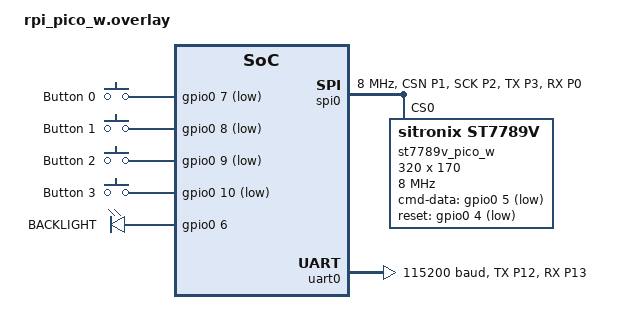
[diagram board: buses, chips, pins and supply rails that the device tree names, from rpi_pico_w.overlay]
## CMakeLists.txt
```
# SPDX-License-Identifier: Apache-2.0

cmake_minimum_required(VERSION 3.20.0)

# Suppress "simple_bus_reg" on Pico boards as 
# all GPIO ports use the same register.
list(APPEND EXTRA_DTC_FLAGS "-Wno-simple_bus_reg")

set(BOARD rpi_pico_w)

find_package(Zephyr)
project(st7789v_lvgl)

FILE(GLOB app_sources src/*.c)

target_sources(app PRIVATE ${app_sources})

# zephyr_compile_options(-save-temps)
```

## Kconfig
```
# SPDX-License-Identifier: Apache-2.0
# Copyright (c) 2024  Callender Consulting LLC

mainmenu "ST7789V_App_options"

menu "Application Options" 

choice
  prompt "Backlight Configuration"
  default BACKLIGHT_FIRMWARE
  help
    Select the method to configure/power the panel's backlight.

  config BACKLIGHT_FIRMWARE
    bool "Firmware"

  config BACKLIGHT_MANUAL
    bool "Manual"
endchoice

endmenu # ST7789V_App_options

# include main Zephyr menu entries from Zephyr root directory
source "Kconfig.zephyr"
```

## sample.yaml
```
sample:
  description: LVGL sample application
  name: lvgl
```

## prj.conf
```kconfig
#
CONFIG_DEBUG=y
CONFIG_STDOUT_CONSOLE=y
CONFIG_LV_Z_MEM_POOL_SIZE=16384
CONFIG_MAIN_STACK_SIZE=2048
CONFIG_SYSTEM_WORKQUEUE_STACK_SIZE=2048
CONFIG_HEAP_MEM_POOL_SIZE=12288
CONFIG_LV_Z_MEM_POOL_SIZE=8192
CONFIG_BUILD_OUTPUT_HEX=y
CONFIG_THREAD_NAME=y

#------------------------------------

CONFIG_SPI=y
CONFIG_SPI_LOG_LEVEL_DEFAULT=y

CONFIG_GPIO=y

#------------------------------------

CONFIG_DISPLAY=y
CONFIG_DISPLAY_LOG_LEVEL_ERR=y
CONFIG_DISPLAY_LOG_LEVEL_DEFAULT=y

CONFIG_BACKLIGHT_FIRMWARE=y
CONFIG_ST7789V_RGB565=y

#------------------------------------

CONFIG_APP_LINK_WITH_LVGL=y

CONFIG_LVGL=y
CONFIG_LV_USE_BAR=y
CONFIG_LV_USE_BTN=y
CONFIG_LV_USE_IMG=y
CONFIG_LV_USE_LABEL=y
CONFIG_LV_USE_SLIDER=y
CONFIG_LV_FONT_MONTSERRAT_20=y

CONFIG_LV_FONT_DEFAULT_MONTSERRAT_20=y

#------------------------------------------------
# Logging interface: UART or RTT.
# By default logging will be to UART.
# For RTT logging (JLink or Ozone), uncomment 
# indicated section below.
#
CONFIG_LOG=y
CONFIG_LOG_PRINTK=y
CONFIG_LOG_MODE_IMMEDIATE=y

CONFIG_LOG_BACKEND_SHOW_COLOR=n
CONFIG_LOG_BACKEND_FORMAT_TIMESTAMP=n

# Uncomment this section for RTT support
#CONFIG_USE_SEGGER_RTT=y
#CONFIG_LOG_BACKEND_RTT=y
#CONFIG_LOG_BACKEND_UART=n
```

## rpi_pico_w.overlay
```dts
/*
 *
 * SPDX-License-Identifier: Apache-2.0
 */

&pinctrl {
    spi0_default: spi0_default {
        group1 {
            pinmux = <SPI0_CSN_P1>, // pin 2, GP1
                     <SPI0_SCK_P2>, // pin 4. GP2
                     <SPI0_TX_P3>;  // pin 5. GP3
        };
        group2 {
            pinmux = <SPI0_RX_P0>;  // pin 1, GP0 (not used)
            input-enable;
        };
    };

    uart0_default: uart0_default {
        group1 {
            pinmux = <UART0_TX_P12>;  // pin 16, GP12
        };
        group2 {
            pinmux = <UART0_RX_P13>;  // pin 17, GP13
            input-enable;
        };
    };
};

&spi0 {
    status = "okay";
    clock-frequency = <DT_FREQ_M(8)>;
    status = "okay";
    pinctrl-0 = <&spi0_default>;
    pinctrl-names = "default";

    st7789v_pico_w: st7789v@0 {
        compatible = "sitronix,st7789v";
        spi-max-frequency = <8000000>;
        reg = <0>;
        cmd-data-gpios = <&gpio0 5 GPIO_ACTIVE_LOW>; // pin 7, GP5
        reset-gpios    = <&gpio0 4 GPIO_ACTIVE_LOW>; // pin 6, GP4
        width  = <320>;
        height = <170>;
        x-offset = <0>;
        y-offset = <35>;
        vcom = <0x2B>;
        gctrl = <0x35>;
        vrhs = <0x0F>;
        vdvs = <0x20>;
        mdac = <0x60>;
        gamma = <0x01>;
        colmod = <0x55>;
        lcm = <0x2C>;
        porch-param = [0C 0C 00 33 33];
        cmd2en-param = [5A 69 02 01];
        pwctrl1-param = [52 A1];
        pvgam-param = [D0 00 02 07 0B 1A 31 54 40 29 12 12 12 17];
        nvgam-param = [D0 00 02 07 05 15 2D 44 44 1C 18 16 1C 1D];
        ram-param = [00 F8];
        rgb-param = [CD 08 14];
    };
};

&uart0 {
    current-speed = <115200>;
    status = "okay";
    pinctrl-0 = <&uart0_default>;
    pinctrl-names = "default";
};

&gpio0 {
    status = "okay";
};

/ {

    chosen {
        zephyr,display = &st7789v_pico_w;
    };

    buttons {
        compatible = "gpio-keys";
        button0: button_0 {
            gpios = <&gpio0 7 GPIO_ACTIVE_LOW>; // pin10, GP7
            label = "Button 0";
        };
        button1: button_1 {
            gpios = <&gpio0 8 GPIO_ACTIVE_LOW>; // pin11, GP8
            label = "Button 1";
        };
        button2: button_2 {
            gpios = <&gpio0 9 GPIO_ACTIVE_LOW>; // pin12, GP9
            label = "Button 2";
        };
        button3: button_3 {
            gpios = <&gpio0 10 GPIO_ACTIVE_LOW>; // pin14, GP10
            label = "Button 3";
        };
    };

    backlight {
        compatible = "gpio-leds";
        backlight0: backlight_0 {
            gpios = <&gpio0 6 GPIO_ACTIVE_HIGH>; // pin9, GP6
            label = "BACKLIGHT";
        };
    };

    aliases {
        sw0 = &button0;
        sw1 = &button1;
        sw2 = &button2;
        sw3 = &button3;
        backlight = &backlight0;
    };
};
```

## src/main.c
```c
/* 
 *  main.c - Application main entry point 
 */
#include <stdio.h>
#include <string.h>

#include <zephyr/kernel.h>
#include <zephyr/device.h>
#include <zephyr/devicetree.h>
#include <zephyr/drivers/display.h>
#include <zephyr/drivers/gpio.h>
#include <zephyr/sys/printk.h>

#include <lvgl.h>
#include <lvgl_input_device.h>

#include "display.h"
#include "buttons.h"

#include <zephyr/logging/log.h>
LOG_MODULE_REGISTER(main, CONFIG_LOG_DEFAULT_LEVEL);

/*---------------------------------------------------------------------------*/
/*                                                                           */
/*---------------------------------------------------------------------------*/

#define STACKSIZE 1024
#define PRIORITY 7

/*---------------------------------------------------------------------------*/
/*                                                                           */
/*---------------------------------------------------------------------------*/
static int set_backlight_on(void)
{
#if defined(CONFIG_BACKLIGHT_FIRMWARE)
 
    #define BACKLIGHT_GPIO_DEV  DT_PHANDLE_BY_IDX(DT_ALIAS(backlight), gpios, 0)
    #define BACKLIGHT_PIN       DT_GPIO_PIN(DT_ALIAS(backlight), gpios)
    #define BACKLIGHT_FLAGS     DT_GPIO_FLAGS(DT_ALIAS(backlight), gpios)

    static const struct device * gpio;

    gpio = DEVICE_DT_GET(BACKLIGHT_GPIO_DEV);
    if (!gpio) {
        LOG_ERR("Backlight failure");
        return -1;
    }

    gpio_pin_configure(gpio, BACKLIGHT_PIN, GPIO_OUTPUT);
    gpio_pin_set(gpio, BACKLIGHT_PIN, 1);

    return 0;

#elif defined(CONFIG_BACKLIGHT_MANUAL)
    LOG_INF("Backlight manually configured");
    return 0;
#else
    LOG_ERR("Set Backlight configuration method");
    return 0     

#endif
}

/*---------------------------------------------------------------------------*/
/*                                                                           */
/*---------------------------------------------------------------------------*/

int main(void)
{
    LOG_INF("%s", __func__);

    if (set_backlight_on() < 0) {
        return -1;
    }

    buttons_init();

    if (display_init() < 0)
        return -2;

    return 0;
}
```

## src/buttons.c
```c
/*
 *   buttons.c
 */
#include <zephyr/kernel.h>
#include <zephyr/device.h>
#include <zephyr/drivers/gpio.h>
#include <zephyr/sys/util.h>
#include <zephyr/sys/printk.h>
#include <inttypes.h>

#include "buttons.h"

#include <zephyr/logging/log.h>
LOG_MODULE_REGISTER(buttons, 3);

/*---------------------------------------------------------------------------*/
/*                                                                           */
/*---------------------------------------------------------------------------*/

#define SW_GPIO_NAME    DT_GPIO_LABEL(SW0_NODE, gpios)

#define SW0_NODE        DT_ALIAS(sw0)
#define SW1_NODE        DT_ALIAS(sw1)
#define SW2_NODE        DT_ALIAS(sw2)
#define SW3_NODE        DT_ALIAS(sw3)

#define SW_0            DT_GPIO_PIN(SW0_NODE, gpios)
#define SW_1            DT_GPIO_PIN(SW1_NODE, gpios)
#define SW_2            DT_GPIO_PIN(SW2_NODE, gpios)
#define SW_3            DT_GPIO_PIN(SW3_NODE, gpios)

#define EDGE            (GPIO_INT_EDGE | GPIO_INT_LOW_0)
#define PULL_UP         GPIO_PULL_UP

#define BUTTON_DEBOUNCE_DELAY_MS 350

/*---------------------------------------------------------------------------*/
/*                                                                           */
/*---------------------------------------------------------------------------*/

typedef struct {
    uint8_t    id;
    uint8_t    pin;
    uint32_t   bit;
    char  * name;
} button_info_t; 

#define SW_GPIO_DEV    DT_NODELABEL(gpio0)

#define SW0_PIN        DT_GPIO_PIN(DT_ALIAS(sw0), gpios)
#define SW1_PIN        DT_GPIO_PIN(DT_ALIAS(sw1), gpios)
#define SW2_PIN        DT_GPIO_PIN(DT_ALIAS(sw2), gpios)
#define SW3_PIN        DT_GPIO_PIN(DT_ALIAS(sw3), gpios)

static const button_info_t button_info [] = {
    { .id = BTN1_ID, .pin = SW0_PIN, .bit = BIT(SW0_PIN), .name = "BTN1" },
    { .id = BTN2_ID, .pin = SW1_PIN, .bit = BIT(SW1_PIN), .name = "BTN2" },
    { .id = BTN3_ID, .pin = SW2_PIN, .bit = BIT(SW2_PIN), .name = "BTN3" },
    { .id = BTN4_ID, .pin = SW3_PIN, .bit = BIT(SW3_PIN), .name = "BTN4" },
};

#define BUTTONS_COUNT (sizeof(button_info)/sizeof(button_info_t))

static const button_info_t unknown = {.id=INVALID_ID, .pin=0 , .bit= 0, .name= "???"};

#define DEBOUNCE_MS 250

/*---------------------------------------------------------------------------*/
/*                                                                           */
/*---------------------------------------------------------------------------*/
static const struct device * gpiodev;

static struct gpio_callback buttons_cb;

typedef struct {
    struct k_work      work;
    button_info_t    * current;
    buttons_notify_t   notify;
} buttons_t;

static buttons_t  buttons;

/*---------------------------------------------------------------------------*/
/*                                                                           */
/*---------------------------------------------------------------------------*/
static const button_info_t * button_get_info(uint32_t pins)
{
    for (int i=0; i < BUTTONS_COUNT; i++) {
        if (button_info[i].bit & pins) {
            return &button_info[i];
        }
    }
    return &unknown;
}

/*---------------------------------------------------------------------------*/
/*                                                                           */
/*---------------------------------------------------------------------------*/
void buttons_event(const struct device * gpiob,
                   struct gpio_callback * cb,
                   uint32_t pins)
{
    buttons.current = (button_info_t *) button_get_info(pins);
    if (buttons.current->id == INVALID_ID) {
        return;
    }

    if (gpio_pin_get(gpiodev, buttons.current->pin) == 1) {
        k_msleep(DEBOUNCE_MS);
        if (gpio_pin_get(gpiodev, buttons.current->pin) == 1) {
            k_work_submit(&buttons.work);
        }
    }
}

/*---------------------------------------------------------------------------*/
/*                                                                           */
/*---------------------------------------------------------------------------*/
static void buttons_worker(struct k_work * work)
{
    if (buttons.notify) {
        buttons.notify(buttons.current->id);
    }
}

/*---------------------------------------------------------------------------*/
/*                                                                           */
/*---------------------------------------------------------------------------*/
void buttons_register_notify_handler(buttons_notify_t notify)
{
    buttons.notify = notify;
}

/*---------------------------------------------------------------------------*/
/*                                                                           */
/*---------------------------------------------------------------------------*/
void buttons_unregister_notify_handler(void)
{
    buttons.notify = NULL;
}

/*---------------------------------------------------------------------------*/
/*                                                                           */
/*---------------------------------------------------------------------------*/
void buttons_init(void)
{
    gpiodev = DEVICE_DT_GET(SW_GPIO_DEV);
    if (!gpiodev) {
        LOG_ERR("device not found. %s", DEVICE_DT_NAME(SW_GPIO_DEV));
        return;
    } 

    k_work_init(&buttons.work, buttons_worker);

    /* Init Button Interrupt */
    int flags = (GPIO_INPUT      | 
                 GPIO_ACTIVE_LOW |  
                 GPIO_PULL_UP    | 
                 GPIO_INT_EDGE);

    gpio_pin_configure(gpiodev, SW0_PIN, flags);
    gpio_pin_configure(gpiodev, SW1_PIN, flags);
    gpio_pin_configure(gpiodev, SW2_PIN, flags);
    gpio_pin_configure(gpiodev, SW3_PIN, flags);

    gpio_pin_interrupt_configure(gpiodev, SW0_PIN, GPIO_INT_EDGE_TO_ACTIVE);
    gpio_pin_interrupt_configure(gpiodev, SW1_PIN, GPIO_INT_EDGE_TO_ACTIVE);
    gpio_pin_interrupt_configure(gpiodev, SW2_PIN, GPIO_INT_EDGE_TO_ACTIVE);
    gpio_pin_interrupt_configure(gpiodev, SW3_PIN, GPIO_INT_EDGE_TO_ACTIVE);

    gpio_init_callback(&buttons_cb, buttons_event,
                       BIT(SW0_PIN) |
                       BIT(SW1_PIN) |
                       BIT(SW2_PIN) |
                       BIT(SW3_PIN) );

    gpio_add_callback(gpiodev, &buttons_cb);
}
```

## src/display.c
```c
/*
 * Copyright (c) 2018 Jan Van Winkel <jan.van_winkel@dxplore.eu>
 *
 * SPDX-License-Identifier: Apache-2.0
 */
#include <zephyr/kernel.h> 
#include <zephyr/device.h>
#include <zephyr/drivers/display.h>
#include <lvgl.h>
#include <stdio.h>
#include <string.h>

#include "display.h"
#include "buttons.h"

#include <zephyr/logging/log.h>
LOG_MODULE_REGISTER(display, 3);


static const struct device * display_dev;

#define SCREEN_ID_0    0
#define SCREEN_ID_1    1
#define SCREEN_ID_2    2
#define SCREEN_ID_3    3
#define SCREEN_COUNT   4

#define PARAM_ID_0      0
#define PARAM_ID_1      1
#define PARAM_ID_2      2
#define PARAM_ID_3      3
#define PARAM_COUNT     3  //4

LV_IMG_DECLARE(image_1);
//LV_IMG_DECLARE(image_2);
LV_IMG_DECLARE(image_3);


void display_timer_handler(struct k_timer * timer);
void display_task_handler(struct k_work * work);

K_TIMER_DEFINE(display_timer, display_timer_handler, NULL);

K_WORK_DEFINE(display_work, display_task_handler);

#define TICK_PERIOD   (10)

/*---------------------------------------------------------------------------*/
/*                                                                           */
/*---------------------------------------------------------------------------*/
void display_task_handler(struct k_work * work)
{  
    lv_task_handler();
}

/*---------------------------------------------------------------------------*/
/*                                                                           */
/*---------------------------------------------------------------------------*/
void display_timer_handler(struct k_timer * timer)
{
    k_work_submit(&display_work);
}

/*---------------------------------------------------------------------------*/
/*                                                                           */
/*---------------------------------------------------------------------------*/

typedef struct {
    lv_obj_t     ** object; 
    short         * value;
    short           step;
    short           max;
    short           min;
} param_t;

typedef struct {
    lv_obj_t * screen;
    int        count;
    param_t  * params;
} screens_t;

/*---------------------------------------------------------------------------*/
/*                                                                           */
/*---------------------------------------------------------------------------*/

static lv_obj_t   * screen0_slider_obj;
static lv_obj_t   * screen0_value_obj;
static short        screen0_slider_value;

static lv_obj_t   * screen1_label0_obj; 
static short        screen1_label0_value = 0;
static lv_obj_t   * screen1_label1_obj; 
static short        screen1_label1_value = 0;

static lv_obj_t   * screen2_label0_obj; 
static short        screen2_label0_value = 0;
static lv_obj_t   * screen2_label1_obj; 
static short        screen2_label1_value = 0;
static lv_obj_t   * screen2_label2_obj; 
static short        screen2_label2_value = 0;

static param_t screen0_elements [] = {
    { .object = &screen0_slider_obj,  .value = &screen0_slider_value, .step = 5, .max = 100, .min = 0},
};

static param_t screen1_elements[] = {
    { .object = &screen1_label0_obj, .value = &screen1_label0_value, .step = 1, .max = 999, .min = 0 },
    { .object = &screen1_label1_obj, .value = &screen1_label1_value, .step = 1, .max = 999, .min = 0 },
};

static param_t screen2_elements [] = {
    { .object = &screen2_label0_obj, .value = &screen2_label0_value, .step = 1, .max = 999, .min = 0 },
    { .object = &screen2_label1_obj, .value = &screen2_label1_value, .step = 1, .max = 999, .min = 0 },
    { .object = &screen2_label2_obj, .value = &screen2_label2_value, .step = 1, .max = 999, .min = 0 },
};

static param_t screen3_elements [] = {
    { .object = NULL, .value = NULL, .step = 0, .max = 0, .min = 0},
};

static screens_t screens [] = {
    { .screen = NULL, .count = 1, .params = screen0_elements },
    { .screen = NULL, .count = 2, .params = screen1_elements },
    { .screen = NULL, .count = 3, .params = screen2_elements },
    { .screen = NULL, .count = 0, .params = screen3_elements },
};
#define SCREENS_COUNT (sizeof(screens)/sizeof(screens[0]))

/*---------------------------------------------------------------------------*/
/*                                                                           */
/*---------------------------------------------------------------------------*/
void display_param_update(int screen_id, int param_id, bool inc)
{
    param_t * param = &screens[screen_id].params[param_id];

    if (param == NULL || *param->object == NULL)
        return;

    if (inc) *param->value += param->step;
    else     *param->value -= param->step;

    if (*param->value <= param->min)  *param->value = param->min;
    if (*param->value >  param->max)  *param->value = param->max;

    if (lv_obj_check_type(*param->object, &lv_label_class)) {
        static char value[4];
        snprintf(value, sizeof(value), "%u", *param->value);
        lv_label_set_text(*param->object, value);
        return;
    }

    if (lv_obj_check_type(*param->object, &lv_slider_class)) {
        char value[6];
        snprintf(value, sizeof(value), "%u%%", *param->value);
        lv_slider_set_value(*param->object, *param->value, LV_ANIM_OFF);
        lv_label_set_text(screen0_value_obj, value);   // hack hack
        LOG_INF("%s: slider value %s", __func__, value);
        return;
    }
}

/*---------------------------------------------------------------------------*/
/*                                                                           */
/*---------------------------------------------------------------------------*/
void display_btn_event(buttons_id_t btn_id)
{
    static int screen_id = 0;  // init to first screen id
    static int param_id  = 0;  // init to first parameter index

    switch (btn_id) {

        case BTN1_ID:
            screen_id++;
            if (screen_id >= SCREEN_COUNT)
                screen_id = 0;
            lv_scr_load(screens[screen_id].screen);
            param_id = 0;
            LOG_INF("BTN1: screen_id(%d)", screen_id);
            break;

        case BTN2_ID:
            param_id++;
            if (param_id >= screens[screen_id].count)  param_id = 0;
            if (param_id < 0)                          param_id = 0;
            LOG_INF("BTN2: screen_id(%d) param_id(%d)", screen_id, param_id);
            break;

        case BTN3_ID:
            if (screens[screen_id].count > 0) {
                display_param_update(screen_id, param_id, true);
                LOG_INF("BTN3: +%d", screens[screen_id].params[param_id].step);
            }
            break;

        case BTN4_ID:
            if (screens[screen_id].count > 0) {
                display_param_update(screen_id, param_id, false);
                LOG_INF("BTN4: -%d", screens[screen_id].params[param_id].step);
            }

        default:
            break;
    }
}

/*---------------------------------------------------------------------------*/
/*                                                                           */
/*---------------------------------------------------------------------------*/
void display_screens_init(void)
{
    screens[0].screen = lv_obj_create(NULL);
    screens[1].screen = lv_obj_create(NULL);
    screens[2].screen = lv_obj_create(NULL);
    screens[3].screen = lv_obj_create(NULL);

    /*
     *  build basic screen0
     */
    lv_scr_load(screens[0].screen);
    lv_obj_t * screen0_label = lv_label_create(lv_scr_act());
    lv_label_set_text(screen0_label, "Pg1");
    lv_obj_align_to(screen0_label, screens[0].screen, LV_ALIGN_TOP_RIGHT, -15, 10);

    lv_obj_t * screen0_header = lv_label_create(lv_scr_act());
    lv_label_set_text(screen0_header, "Slider");
    lv_obj_align_to(screen0_header, screens[0].screen, LV_ALIGN_TOP_MID, 0, 35);

    screen0_slider_obj = lv_slider_create(lv_scr_act());
    lv_obj_set_style_bg_color(screen0_slider_obj, lv_palette_main(LV_PALETTE_GREEN), LV_PART_MAIN);
    lv_obj_set_style_bg_color(screen0_slider_obj, lv_palette_lighten(LV_PALETTE_RED, 4), LV_PART_INDICATOR);
    lv_obj_set_style_bg_color(screen0_slider_obj, lv_palette_main(LV_PALETTE_RED), LV_PART_KNOB);
    lv_obj_set_size(screen0_slider_obj, 270, 10);
    lv_slider_set_range(screen0_slider_obj, 0, 100);
    lv_slider_set_value(screen0_slider_obj, 50, LV_ANIM_OFF);
    lv_obj_align_to(screen0_slider_obj, screens[0].screen, LV_ALIGN_CENTER, 0, 0);

    screen0_slider_value = 50;
    screen0_value_obj = lv_label_create(lv_scr_act());
    lv_label_set_text(screen0_value_obj, "50%");
    lv_obj_align_to(screen0_value_obj, screens[0].screen, LV_ALIGN_BOTTOM_MID, 0, -10);

    /*
     *  build basic screen1
     */
    lv_scr_load(screens[1].screen);
    lv_obj_t * screen1_page = lv_label_create(lv_scr_act());
    lv_label_set_text(screen1_page, "Pg2");
    lv_obj_align_to(screen1_page, screens[1].screen, LV_ALIGN_TOP_RIGHT, -15, 10);

    screen1_label0_obj = lv_label_create(lv_scr_act());
    lv_label_set_text(screen1_label0_obj, "0");
    lv_obj_align_to(screen1_label0_obj, screens[1].screen, LV_ALIGN_BOTTOM_LEFT, 5, -5);

    screen1_label1_obj = lv_label_create(lv_scr_act());
    lv_label_set_text(screen1_label1_obj, "0");
    lv_obj_align_to(screen1_label1_obj, screens[1].screen, LV_ALIGN_BOTTOM_RIGHT, -15, -5);

    lv_obj_t * icon_1 = lv_img_create(lv_scr_act());
    lv_img_set_src(icon_1, &image_1);
    lv_obj_align_to(icon_1, NULL, LV_ALIGN_CENTER, 0, 0);

    /*
     *  build basic screen2
     */
    lv_scr_load(screens[2].screen);
    lv_obj_t * screen2_page = lv_label_create(lv_scr_act());
    lv_label_set_text(screen2_page, "Pg3");
    lv_obj_align_to(screen2_page, screens[2].screen, LV_ALIGN_TOP_RIGHT, -15, 10);

    lv_obj_t * screen2_header = lv_label_create(lv_scr_act());
    lv_label_set_text(screen2_header, "Variable Input");
    lv_obj_align_to(screen2_header, screens[2].screen, LV_ALIGN_TOP_MID, 0, 20);

    //
    lv_obj_t * screen2_label0_tag = lv_label_create(lv_scr_act());
    lv_label_set_text(screen2_label0_tag, "value-0");
    lv_obj_align_to(screen2_label0_tag, screens[2].screen, LV_ALIGN_RIGHT_MID, -200, -25);

    screen2_label0_obj = lv_label_create(lv_scr_act());
    lv_label_set_text(screen2_label0_obj, "0");
    lv_obj_align_to(screen2_label0_obj, screens[2].screen, LV_ALIGN_RIGHT_MID, -100, -25);

    //
    lv_obj_t * screen2_label1_tag = lv_label_create(lv_scr_act());
    lv_label_set_text(screen2_label1_tag, "value-1");
    lv_obj_align_to(screen2_label1_tag, screens[2].screen, LV_ALIGN_RIGHT_MID, -200, 0);

    screen2_label1_obj = lv_label_create(lv_scr_act());
    lv_label_set_text(screen2_label1_obj, "0");
    lv_obj_align_to(screen2_label1_obj, screens[2].screen, LV_ALIGN_RIGHT_MID, -100, 0);

    //
    lv_obj_t * screen2_value2_tag = lv_label_create(lv_scr_act());
    lv_label_set_text(screen2_value2_tag, "value-2");
    lv_obj_align_to(screen2_value2_tag, screens[2].screen, LV_ALIGN_RIGHT_MID, -200, 25);

    screen2_label2_obj = lv_label_create(lv_scr_act());
    lv_label_set_text(screen2_label2_obj, "0");
    lv_obj_align_to(screen2_label2_obj, screens[2].screen, LV_ALIGN_RIGHT_MID, -100, 25);

    /*
     *  build basic screen3
     */
    lv_scr_load(screens[3].screen);
    lv_obj_t * screen3_page = lv_label_create(lv_scr_act());
    lv_label_set_text(screen3_page, "Pg4");
    lv_obj_align_to(screen3_page, screens[3].screen, LV_ALIGN_TOP_RIGHT, -15, 10);

    lv_obj_t * icon_3 = lv_img_create(lv_scr_act());
    lv_img_set_src(icon_3, &image_3);
    lv_obj_align_to(icon_3, NULL, LV_ALIGN_CENTER, 0, 0);
}

/*---------------------------------------------------------------------------*/
/*                                                                           */
/*---------------------------------------------------------------------------*/
int display_init(void)
{
    display_dev = device_get_binding(DT_NODE_FULL_NAME(DT_CHOSEN(zephyr_display)));
    if (display_dev == NULL) {
        LOG_ERR("Display device not found.");
        return -1;
    }

    display_screens_init();

    /*
     *  First screen will be screen0
     */
    lv_scr_load(screens[0].screen);

    /*
     *  Turn on display
     */
    display_blanking_off(display_dev);

    /* 
     * Register for button press notifications.
     */
    buttons_register_notify_handler(display_btn_event);

    /*
     *  Start task handler timer loop
     */
    k_timer_start(&display_timer, K_MSEC(TICK_PERIOD), K_MSEC(TICK_PERIOD));

    return 0;
};
```
